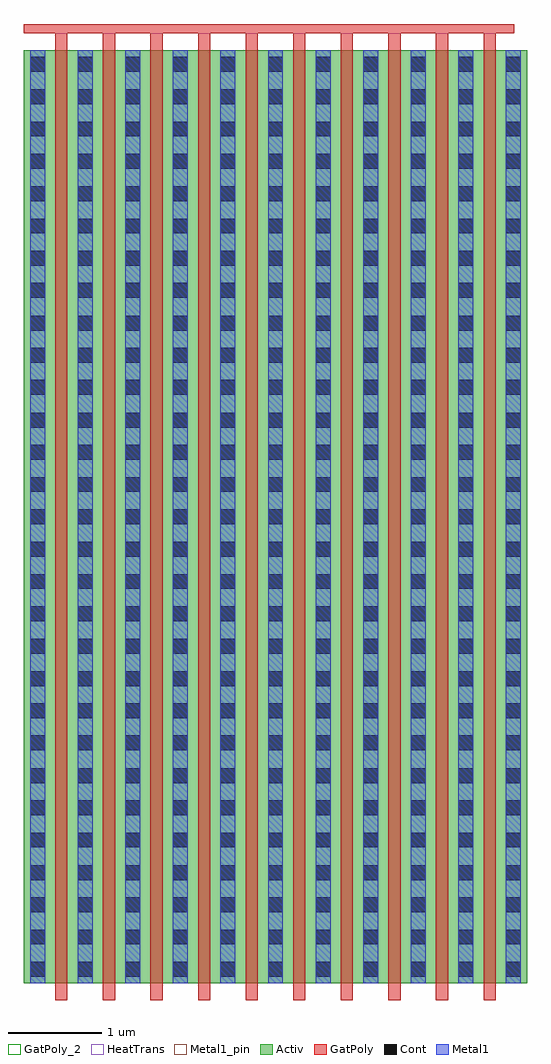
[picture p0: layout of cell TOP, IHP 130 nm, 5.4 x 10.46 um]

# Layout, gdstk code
import gdstk
lib = gdstk.Library(unit=1e-6, precision=1e-09)
def R(c, l, rs):  # rectangles x0, y0, x1, y1
    for r in rs: c.add(gdstk.rectangle(r[:2], r[2:], *l))
def A(c, l, x, y, w, h, nx, ny, dx, dy):  # array of equal rectangles
    R(c, l, [(x+i*dx, y+j*dy, x+i*dx+w, y+j*dy+h) for i in range(nx) for j in range(ny)])
Activ = (1, 0)
GatPoly = (5, 0)
GatPoly_2 = (5, 2)
Cont = (6, 0)
Metal1 = (8, 0)
Metal1_pin = (8, 2)
HeatTrans = (51, 0)

nmos = lib.new_cell('nmos')
A(nmos, Activ, 0, 0, 0.3, 0.3, 11, 1, 0.51, 0)
R(nmos, Activ, [(0,0,5.4,10)])
A(nmos, GatPoly, 0.34, -0.18, 0.13, 10.36, 10, 1, 0.51, 0)
R(nmos, GatPoly_2, [(0.34,-0.18,0.47,10.18)])
A(nmos, Cont, 0.07, 0.07, 0.16, 0.16, 11, 4, 0.51, 0.345)
A(nmos, Cont, 0.07, 1.455, 0.16, 0.16, 11, 3, 0.51, 0.345)
A(nmos, Cont, 0.07, 2.495, 0.16, 0.16, 11, 4, 0.51, 0.345)
A(nmos, Cont, 0.07, 3.88, 0.16, 0.16, 11, 3, 0.51, 0.345)
A(nmos, Cont, 0.07, 4.92, 0.16, 0.16, 11, 4, 0.51, 0.345)
A(nmos, Cont, 0.07, 6.305, 0.16, 0.16, 11, 3, 0.51, 0.345)
A(nmos, Cont, 0.07, 7.345, 0.16, 0.16, 11, 4, 0.51, 0.345)
A(nmos, Cont, 0.07, 8.73, 0.16, 0.16, 11, 3, 0.51, 0.345)
A(nmos, Cont, 0.07, 9.77, 0.16, 0.16, 11, 1, 0.51, 0)
A(nmos, Metal1, 0.07, 0, 0.16, 10, 11, 1, 0.51, 0)
R(nmos, Metal1_pin, [(0.07,0,0.23,10), (0.58,0,0.74,10)])
A(nmos, HeatTrans, 0.34, -0.18, 0.13, 10.36, 10, 1, 0.51, 0)
nmos.add(gdstk.Label('nmos', (0.405,5), layer=63, texttype=0))
nmos.add(gdstk.Label('nmos', (0.405,5), layer=51, texttype=0))
nmos.add(gdstk.Label('nmos', (0.915,5), layer=51, texttype=0))
nmos.add(gdstk.Label('nmos', (1.425,5), layer=51, texttype=0))
nmos.add(gdstk.Label('nmos', (1.935,5), layer=51, texttype=0))
nmos.add(gdstk.Label('nmos', (2.445,5), layer=51, texttype=0))
nmos.add(gdstk.Label('nmos', (2.955,5), layer=51, texttype=0))
nmos.add(gdstk.Label('nmos', (3.465,5), layer=51, texttype=0))
nmos.add(gdstk.Label('nmos', (3.975,5), layer=51, texttype=0))
nmos.add(gdstk.Label('nmos', (4.485,5), layer=51, texttype=0))
nmos.add(gdstk.Label('nmos', (4.995,5), layer=51, texttype=0))

top = lib.new_cell('TOP')
top.add(gdstk.FlexPath([(-0.45,9.995),(4.81,9.995)], 0.1, ends="flush", simple_path=True, layer=5, datatype=0))  # GatPoly
top.add(gdstk.Reference(nmos, (-0.45,-0.235)))

lib.write_gds('TOP.gds')
